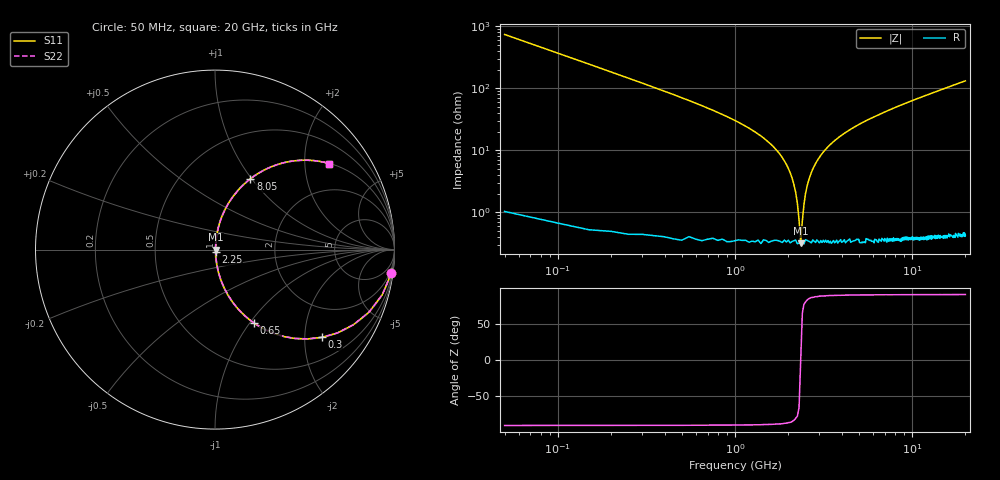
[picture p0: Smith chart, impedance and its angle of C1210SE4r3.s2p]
! AVX Thin Film Operation		Date: April 2012
! Description: Accu-P® Series, Thin Film, SMD, RF Capacitor
! Part Number: 12101J4R3ABTTR
!	50	MHz	-	20.05	GHz
!	Serial	Measurements
#	MHZ	S	MA	R	50
!	S11	S21	S12	S22
!	dB	Phase	dB	Phase	dB	Phase	dB	Phase
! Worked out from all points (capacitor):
!   400 points, 50 MHz to 20 GHz, reference 50 ohm
!   read as one part in series: C = 4.3 pF near 150 MHz
!   lowest |Z| = 319 mohm at 2.35 GHz (marker M1)
!   series resonance near 2.351 GHz, so ESL is about 1.1 nH
!   S11 on the Smith chart (normalised r, x): 50 MHz: 1, -15; 300 MHz: 1.01, -2.43; 650 MHz: 1.01, -1.05; 2.25 GHz: 1.01, -0.03; 8.05 GHz: 1.01, +0.99; 20 GHz: 1.01, +2.64
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50  0.991 -7.7  0.134 82.2  0.134 82.2  0.991 -7.7
100  0.965 -15.1  0.261 74.8  0.261 74.8  0.965 -15.1
150  0.926 -22.1  0.377 67.7  0.377 67.7  0.926 -22.1
300  0.77 -39.4  0.635 50.4  0.635 50.4  0.77 -39.4
650  0.464 -61.9  0.883 27.7  0.883 27.7  0.464 -61.9
1100  0.253 -74.6  0.964 14.7  0.964 14.7  0.253 -74.6
1800  0.085 -82.9  0.993 4.8  0.993 4.8  0.085 -82.9
2100  0.036 -82.6  0.996 2.0  0.996 2.0  0.036 -82.6
2250  0.014 -75.5  0.997 0.8  0.997 0.8  0.014 -75.5
2350  0.003359 -1.5  0.997 0.0  0.997 0.0  0.003359 -1.5
2400  0.007333 62.4  0.997 -0.4  0.997 -0.4  0.007333 62.4
2500  0.02 79.0  0.996 -1.1  0.996 -1.1  0.02 79.0
2650  0.038 82.7  0.996 -2.2  0.996 -2.2  0.038 82.7
2950  0.072 83.2  0.994 -4.1  0.994 -4.1  0.072 83.2
3400  0.118 81.6  0.99 -6.8  0.99 -6.8  0.118 81.6
4750  0.233 75.7  0.969 -13.5  0.969 -13.5  0.233 75.7
6700  0.365 68.1  0.928 -21.4  0.928 -21.4  0.365 68.1
8050  0.441 63.4  0.894 -26.2  0.894 -26.2  0.441 63.4
10050  0.535 57.3  0.841 -32.4  0.841 -32.4  0.535 57.3
13350  0.653 48.9  0.754 -40.8  0.754 -40.8  0.653 48.9
16700  0.737 42.3  0.673 -47.5  0.673 -47.5  0.737 42.3
20000  0.796 37.1  0.603 -52.8  0.603 -52.8  0.796 37.1
